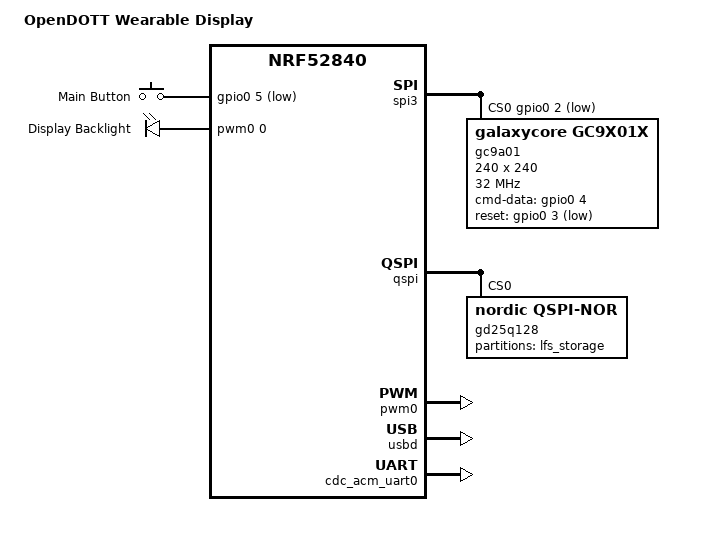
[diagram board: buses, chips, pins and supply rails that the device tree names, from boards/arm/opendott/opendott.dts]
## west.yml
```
# West manifest for OpenDOTT
manifest:
  version: "1.0"

  remotes:
    - name: zephyrproject-rtos
      url-base: https://github.com/zephyrproject-rtos

  projects:
    - name: zephyr
      remote: zephyrproject-rtos
      revision: v3.7.0
      import:
        name-allowlist:
          - cmsis
          - hal_nordic
          - littlefs
          - mbedtls
          - mcuboot
          - segger
          - tinycrypt

  self:
    path: opendott
```

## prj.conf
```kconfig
# OpenDOTT Configuration
# SPDX-License-Identifier: MIT

# Kernel
CONFIG_MAIN_STACK_SIZE=4096
CONFIG_SYSTEM_WORKQUEUE_STACK_SIZE=2048
CONFIG_HEAP_MEM_POOL_SIZE=32768

# Logging
CONFIG_LOG=y
CONFIG_LOG_DEFAULT_LEVEL=3
CONFIG_LOG_BACKEND_UART=y
CONFIG_USE_SEGGER_RTT=n

# Bluetooth
CONFIG_BT=y
CONFIG_BT_PERIPHERAL=y
CONFIG_BT_DEVICE_NAME="Dott"
CONFIG_BT_DEVICE_APPEARANCE=833

# BT Settings
CONFIG_BT_SETTINGS=y
CONFIG_FLASH=y
CONFIG_FLASH_PAGE_LAYOUT=y
CONFIG_FLASH_MAP=y
CONFIG_NVS=y
CONFIG_SETTINGS=y
CONFIG_SETTINGS_NVS=y

# BT GATT
CONFIG_BT_GATT_DYNAMIC_DB=n
CONFIG_BT_ATT_PREPARE_COUNT=2

# BT connection parameters
CONFIG_BT_MAX_CONN=1
CONFIG_BT_MAX_PAIRED=1

# Higher MTU for faster transfers
CONFIG_BT_L2CAP_TX_MTU=498
CONFIG_BT_BUF_ACL_TX_SIZE=502
CONFIG_BT_BUF_ACL_RX_SIZE=502

# Display
CONFIG_DISPLAY=y
CONFIG_DISPLAY_LOG_LEVEL_ERR=y

# SPI for display
CONFIG_SPI=y

# QSPI for external flash
CONFIG_NORDIC_QSPI_NOR=y
CONFIG_NORDIC_QSPI_NOR_FLASH_LAYOUT_PAGE_SIZE=4096

# File system for GIF storage
CONFIG_FILE_SYSTEM=y
CONFIG_FILE_SYSTEM_LITTLEFS=y

# GPIO for buttons
CONFIG_GPIO=y

# PWM for backlight
CONFIG_PWM=y

# USB CDC for debug console
CONFIG_SERIAL=y
CONFIG_USB_DEVICE_STACK=y
CONFIG_USB_DEVICE_PRODUCT="OpenDOTT"
CONFIG_USB_DEVICE_VID=0x2FE3
CONFIG_USB_DEVICE_PID=0x0001
CONFIG_USB_CDC_ACM=y
CONFIG_UART_CONSOLE=y
CONFIG_CONSOLE=y
CONFIG_UART_LINE_CTRL=y

# MCUboot support (for OTA updates)
CONFIG_BOOTLOADER_MCUBOOT=y
CONFIG_STREAM_FLASH=y
CONFIG_IMG_MANAGER=y
CONFIG_MCUBOOT_IMG_MANAGER=y

# Thread analyzer (debug)
# CONFIG_THREAD_ANALYZER=y
# CONFIG_THREAD_ANALYZER_USE_PRINTK=y

# Optimize for size
CONFIG_SIZE_OPTIMIZATIONS=y
```

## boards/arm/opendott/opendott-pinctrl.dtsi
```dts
/*
 * Pin Control for OpenDOTT
 * 
 * PINS EXTRACTED FROM ORIGINAL FIRMWARE ANALYSIS:
 * - QSPI: Standard nRF52840 pins (CONFIRMED)
 * - SPI Display: P0.15 SCK, P0.16 MOSI (HIGH CONFIDENCE)
 * - PWM Backlight: P0.1 (MEDIUM CONFIDENCE)
 */

&pinctrl {
    /* SPI3 for GC9A01 display - uses SPIM3 (high speed) */
    spi3_default: spi3_default {
        group1 {
            psels = <NRF_PSEL(SPIM_SCK, 0, 15)>,
                    <NRF_PSEL(SPIM_MOSI, 0, 16)>;
            nordic,drive-mode = <NRF_DRIVE_H0H1>;
        };
    };

    spi3_sleep: spi3_sleep {
        group1 {
            psels = <NRF_PSEL(SPIM_SCK, 0, 15)>,
                    <NRF_PSEL(SPIM_MOSI, 0, 16)>;
            low-power-enable;
        };
    };

    /* QSPI for GD25Q128 external flash - CONFIRMED from firmware */
    qspi_default: qspi_default {
        group1 {
            psels = <NRF_PSEL(QSPI_SCK, 0, 19)>,
                    <NRF_PSEL(QSPI_IO0, 0, 20)>,
                    <NRF_PSEL(QSPI_IO1, 0, 21)>,
                    <NRF_PSEL(QSPI_IO2, 0, 22)>,
                    <NRF_PSEL(QSPI_IO3, 0, 23)>,
                    <NRF_PSEL(QSPI_CSN, 0, 17)>;
            nordic,drive-mode = <NRF_DRIVE_H0H1>;
        };
    };

    qspi_sleep: qspi_sleep {
        group1 {
            psels = <NRF_PSEL(QSPI_SCK, 0, 19)>,
                    <NRF_PSEL(QSPI_IO0, 0, 20)>,
                    <NRF_PSEL(QSPI_IO1, 0, 21)>,
                    <NRF_PSEL(QSPI_IO2, 0, 22)>,
                    <NRF_PSEL(QSPI_IO3, 0, 23)>,
                    <NRF_PSEL(QSPI_CSN, 0, 17)>;
            low-power-enable;
        };
    };

    /* PWM for backlight - P0.1 from firmware analysis */
    pwm0_default: pwm0_default {
        group1 {
            psels = <NRF_PSEL(PWM_OUT0, 0, 1)>;
        };
    };

    pwm0_sleep: pwm0_sleep {
        group1 {
            psels = <NRF_PSEL(PWM_OUT0, 0, 1)>;
            low-power-enable;
        };
    };
};
```

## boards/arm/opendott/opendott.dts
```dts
/*
 * OpenDOTT Device Tree
 * SPDX-License-Identifier: MIT
 * 
 * nRF52840 + GC9A01 display + GD25Q128 flash
 * 
 * PIN ASSIGNMENTS (from firmware reverse engineering):
 * - P0.1  = Backlight PWM
 * - P0.2  = Display CS (guess)
 * - P0.3  = Display RESET (guess)  
 * - P0.4  = Display DC (from firmware GPIO spec)
 * - P0.5  = Button (guess)
 * - P0.15 = Display SPI SCK (confirmed)
 * - P0.16 = Display SPI MOSI (confirmed)
 * - P0.17 = QSPI CS (confirmed)
 * - P0.19-23 = QSPI data (confirmed)
 */

/dts-v1/;
#include <nordic/nrf52840_qiaa.dtsi>
#include "opendott-pinctrl.dtsi"

/ {
    model = "OpenDOTT Wearable Display";
    compatible = "opendott,opendott";

    chosen {
        zephyr,console = &cdc_acm_uart0;
        zephyr,shell-uart = &cdc_acm_uart0;
        zephyr,sram = &sram0;
        zephyr,flash = &flash0;
        zephyr,code-partition = &slot0_partition;
        zephyr,display = &gc9a01;
    };

    aliases {
        sw0 = &button0;
        spi-flash0 = &gd25q128;
        display0 = &gc9a01;
    };

    buttons {
        compatible = "gpio-keys";
        button0: button_0 {
            /* Button - best guess P0.5 */
            gpios = <&gpio0 5 (GPIO_PULL_UP | GPIO_ACTIVE_LOW)>;
            label = "Main Button";
            zephyr,code = <INPUT_KEY_0>;
        };
    };

    /* Display backlight via PWM */
    pwmleds {
        compatible = "pwm-leds";
        backlight: backlight {
            pwms = <&pwm0 0 PWM_MSEC(20) PWM_POLARITY_NORMAL>;
            label = "Display Backlight";
        };
    };
};

&flash0 {
    partitions {
        compatible = "fixed-partitions";
        #address-cells = <1>;
        #size-cells = <1>;

        /* MCUboot bootloader */
        boot_partition: partition@0 {
            label = "mcuboot";
            reg = <0x0 0xc000>;
        };

        /* Application slot 0 */
        slot0_partition: partition@c000 {
            label = "image-0";
            reg = <0xc000 0x72000>;
        };

        /* Application slot 1 (OTA) */
        slot1_partition: partition@7e000 {
            label = "image-1";
            reg = <0x7e000 0x72000>;
        };

        /* Scratch partition for OTA */
        scratch_partition: partition@f0000 {
            label = "image-scratch";
            reg = <0xf0000 0xa000>;
        };

        /* NVS storage for settings */
        storage_partition: partition@fa000 {
            label = "storage";
            reg = <0xfa000 0x6000>;
        };
    };
};

&gpio0 {
    status = "okay";
};

&gpio1 {
    status = "okay";
};

/* SPI3 for display - uses high-speed SPIM3 @ 32MHz */
&spi3 {
    compatible = "nordic,nrf-spim";
    status = "okay";
    pinctrl-0 = <&spi3_default>;
    pinctrl-1 = <&spi3_sleep>;
    pinctrl-names = "default", "sleep";
    cs-gpios = <&gpio0 2 GPIO_ACTIVE_LOW>;  /* CS on P0.2 (guess) */

    gc9a01: gc9a01@0 {
        compatible = "galaxycore,gc9x01x";
        reg = <0>;
        spi-max-frequency = <32000000>;
        cmd-data-gpios = <&gpio0 4 GPIO_ACTIVE_HIGH>;  /* DC on P0.4 (from firmware) */
        reset-gpios = <&gpio0 3 GPIO_ACTIVE_LOW>;      /* RESET on P0.3 (guess) */
        pixel-format = <0>;  /* RGB565 */
        width = <240>;
        height = <240>;
        display-inversion;
    };
};

/* QSPI for external flash - CONFIRMED pins from firmware */
&qspi {
    status = "okay";
    pinctrl-0 = <&qspi_default>;
    pinctrl-1 = <&qspi_sleep>;
    pinctrl-names = "default", "sleep";

    gd25q128: gd25q128@0 {
        compatible = "nordic,qspi-nor";
        reg = <0>;
        sck-frequency = <32000000>;
        jedec-id = [c8 40 18];  /* GD25Q128 JEDEC ID */
        size = <134217728>;      /* 128 Mbit = 16 MB */
        has-dpd;
        t-enter-dpd = <3000>;
        t-exit-dpd = <30000>;
        quad-enable-requirements = "S2B1v1";

        partitions {
            compatible = "fixed-partitions";
            #address-cells = <1>;
            #size-cells = <1>;

            /* LittleFS partition for GIF images */
            lfs_partition: partition@0 {
                label = "lfs_storage";
                reg = <0x0 0x1000000>;  /* Full 16MB */
            };
        };
    };
};

/* PWM for backlight on P0.1 */
&pwm0 {
    status = "okay";
    pinctrl-0 = <&pwm0_default>;
    pinctrl-1 = <&pwm0_sleep>;
    pinctrl-names = "default", "sleep";
};

/* USB CDC for console/debug */
&usbd {
    status = "okay";
};

&zephyr_udc0 {
    cdc_acm_uart0: cdc_acm_uart0 {
        compatible = "zephyr,cdc-acm-uart";
    };
};
```

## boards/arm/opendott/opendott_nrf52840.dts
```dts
/*
 * OpenDOTT Device Tree
 * SPDX-License-Identifier: MIT
 * 
 * nRF52840 + GC9A01 display + GD25Q128 flash
 * 
 * PIN ASSIGNMENTS (from firmware reverse engineering):
 * - P0.1  = Backlight PWM
 * - P0.2  = Display CS (guess)
 * - P0.3  = Display RESET (guess)  
 * - P0.4  = Display DC (from firmware GPIO spec)
 * - P0.5  = Button (guess)
 * - P0.15 = Display SPI SCK (confirmed)
 * - P0.16 = Display SPI MOSI (confirmed)
 * - P0.17 = QSPI CS (confirmed)
 * - P0.19-23 = QSPI data (confirmed)
 */

/dts-v1/;
#include <nordic/nrf52840_qiaa.dtsi>
#include "opendott_nrf52840-pinctrl.dtsi"

/ {
    model = "OpenDOTT Wearable Display";
    compatible = "opendott,opendott";

    chosen {
        zephyr,console = &cdc_acm_uart0;
        zephyr,shell-uart = &cdc_acm_uart0;
        zephyr,sram = &sram0;
        zephyr,flash = &flash0;
        zephyr,code-partition = &slot0_partition;
        /* zephyr,display = &gc9a01; -- disabled, using direct SPI */
    };

    aliases {
        sw0 = &button0;
        spi-flash0 = &gd25q128;
        display0 = &gc9a01;
        pwm-led0 = &backlight;
    };

    buttons {
        compatible = "gpio-keys";
        button0: button_0 {
            /* Button - best guess P0.5 */
            gpios = <&gpio0 5 (GPIO_PULL_UP | GPIO_ACTIVE_LOW)>;
            label = "Main Button";
            zephyr,code = <INPUT_KEY_0>;
        };
    };

    /* Display backlight via PWM */
    pwmleds {
        compatible = "pwm-leds";
        backlight: backlight {
            pwms = <&pwm0 0 PWM_MSEC(20) PWM_POLARITY_NORMAL>;
            label = "Display Backlight";
        };
    };
};

&flash0 {
    partitions {
        compatible = "fixed-partitions";
        #address-cells = <1>;
        #size-cells = <1>;

        /* MCUboot bootloader */
        boot_partition: partition@0 {
            label = "mcuboot";
            reg = <0x0 0xc000>;
        };

        /* Application slot 0 */
        slot0_partition: partition@c000 {
            label = "image-0";
            reg = <0xc000 0x72000>;
        };

        /* Application slot 1 (OTA) */
        slot1_partition: partition@7e000 {
            label = "image-1";
            reg = <0x7e000 0x72000>;
        };

        /* Scratch partition for OTA */
        scratch_partition: partition@f0000 {
            label = "image-scratch";
            reg = <0xf0000 0xa000>;
        };

        /* NVS storage for settings */
        storage_partition: partition@fa000 {
            label = "storage";
            reg = <0xfa000 0x6000>;
        };
    };
};

&gpio0 {
    status = "okay";
};

&gpio1 {
    status = "okay";
};

/* SPI3 for display - uses high-speed SPIM3 @ 32MHz */
&spi3 {
    compatible = "nordic,nrf-spim";
    status = "okay";
    pinctrl-0 = <&spi3_default>;
    pinctrl-1 = <&spi3_sleep>;
    pinctrl-names = "default", "sleep";
    cs-gpios = <&gpio0 2 GPIO_ACTIVE_LOW>;  /* CS on P0.2 (guess) */

    gc9a01: gc9a01@0 {
        /* Using custom driver instead of Zephyr's due to boolean property bug */
        compatible = "opendott,gc9a01";
        reg = <0>;
        spi-max-frequency = <32000000>;
        cmd-data-gpios = <&gpio0 4 GPIO_ACTIVE_HIGH>;  /* DC on P0.4 (from firmware) */
        reset-gpios = <&gpio0 3 GPIO_ACTIVE_LOW>;      /* RESET on P0.3 (guess) */
    };
};

/* QSPI for external flash - CONFIRMED pins from firmware */
&qspi {
    status = "okay";
    pinctrl-0 = <&qspi_default>;
    pinctrl-1 = <&qspi_sleep>;
    pinctrl-names = "default", "sleep";

    gd25q128: gd25q128@0 {
        compatible = "nordic,qspi-nor";
        reg = <0>;
        sck-frequency = <32000000>;
        jedec-id = [c8 40 18];  /* GD25Q128 JEDEC ID */
        size = <134217728>;      /* 128 Mbit = 16 MB */
        has-dpd;
        t-enter-dpd = <3000>;
        t-exit-dpd = <30000>;
        quad-enable-requirements = "S2B1v1";

        partitions {
            compatible = "fixed-partitions";
            #address-cells = <1>;
            #size-cells = <1>;

            /* LittleFS partition for GIF images */
            lfs_partition: partition@0 {
                label = "lfs_storage";
                reg = <0x0 0x1000000>;  /* Full 16MB */
            };
        };
    };
};

/* PWM for backlight on P0.1 */
&pwm0 {
    status = "okay";
    pinctrl-0 = <&pwm0_default>;
    pinctrl-1 = <&pwm0_sleep>;
    pinctrl-names = "default", "sleep";
};

/* USB CDC for console/debug */
&usbd {
    status = "okay";
    cdc_acm_uart0: cdc_acm_uart0 {
        compatible = "zephyr,cdc-acm-uart";
    };
};

/* Enable GPIOTE for GPIO interrupts */
&gpiote {
    status = "okay";
};

/* Enable GPIO ports */
&gpio0 {
    status = "okay";
};

&gpio1 {
    status = "okay";
};
```

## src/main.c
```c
/*
 * OpenDOTT - Main Application
 * SPDX-License-Identifier: MIT
 * 
 * Open-source firmware for the DOTT wearable display
 */

#include <zephyr/kernel.h>
#include <zephyr/logging/log.h>

#include "opendott.h"

LOG_MODULE_REGISTER(main, CONFIG_LOG_DEFAULT_LEVEL);

/* GIF receive buffer - reduced to fit in RAM with other allocations */
#define GIF_BUFFER_SIZE (64 * 1024)  /* 64KB max GIF size */
static uint8_t gif_buffer[GIF_BUFFER_SIZE];

/* Transfer timeout work */
static struct k_work_delayable transfer_timeout_work;
#define TRANSFER_TIMEOUT_MS 3000  /* 3 second timeout after last data */

/* Forward declarations */
static void transfer_timeout_handler(struct k_work *work);
static void button_callback(button_event_t event);

/* Button event handler */
static void button_callback(button_event_t event)
{
    switch (event) {
    case BUTTON_EVENT_SHORT_PRESS:
        LOG_INF("Short press - next image");
        /* TODO: Cycle through stored images */
        break;
    case BUTTON_EVENT_MEDIUM_PRESS:
        LOG_INF("Medium press - toggle mode");
        /* TODO: Toggle display mode */
        break;
    case BUTTON_EVENT_LONG_PRESS:
        LOG_INF("Long press - entering settings");
        /* TODO: Enter settings mode */
        break;
    }
}

/* Transfer timeout - called when no data received for a while */
static void transfer_timeout_handler(struct k_work *work)
{
    transfer_state_t state = ble_get_transfer_state();
    
    if (state == TRANSFER_RECEIVING) {
        size_t received = ble_get_received_size();
        LOG_INF("Transfer timeout, received %zu bytes", received);
        
        /* Validate and display the received image */
        if (received > 0) {
            if (image_validate(gif_buffer, received)) {
                LOG_INF("Image validated successfully");
                ble_transfer_complete(true);
                
                /* Display the image */
                int ret = image_decode_and_display(gif_buffer, received);
                if (ret < 0) {
                    LOG_ERR("Failed to display image: %d", ret);
                }
            } else {
                LOG_ERR("Image validation failed - rejecting upload");
                ble_transfer_complete(false);
            }
        } else {
            LOG_WRN("No data received");
            ble_transfer_complete(false);
        }
    }
}

/* Main entry point */
int main(void)
{
    int err;
    
    LOG_INF("OpenDOTT starting...");
    LOG_INF("Build: " __DATE__ " " __TIME__);
    
    /* Initialize transfer timeout work */
    k_work_init_delayable(&transfer_timeout_work, transfer_timeout_handler);
    
    /* Initialize storage */
    err = storage_init();
    if (err) {
        LOG_ERR("Storage init failed: %d", err);
        /* Continue - we can still receive and display images */
    }
    
    /* Initialize display */
    err = display_init();
    if (err) {
        LOG_ERR("Display init failed: %d", err);
        /* Continue anyway - BLE should still work */
    } else {
        /* Clear display to black */
        display_clear(0x0000);
    }
    
    /* Initialize button */
    err = button_init(button_callback);
    if (err) {
        LOG_WRN("Button init failed: %d", err);
    }
    
    /* Initialize BLE service */
    err = ble_service_init(gif_buffer, sizeof(gif_buffer));
    if (err) {
        LOG_ERR("BLE init failed: %d", err);
        return err;
    }
    
    LOG_INF("OpenDOTT ready!");
    LOG_INF("Waiting for BLE connection...");
    
    /* Main loop */
    while (1) {
        transfer_state_t state = ble_get_transfer_state();
        
        if (state == TRANSFER_RECEIVING) {
            /* Reset timeout on each check if still receiving */
            k_work_reschedule(&transfer_timeout_work, K_MSEC(TRANSFER_TIMEOUT_MS));
        }
        
        k_sleep(K_MSEC(100));
    }
    
    return 0;
}
```

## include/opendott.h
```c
/*
 * OpenDOTT - Header File
 * SPDX-License-Identifier: MIT
 */

#ifndef OPENDOTT_H
#define OPENDOTT_H

#include <stdint.h>
#include <stddef.h>
#include <stdbool.h>

/* Display constants */
#define DISPLAY_WIDTH  240
#define DISPLAY_HEIGHT 240
#define DISPLAY_BPP    2  /* RGB565 = 2 bytes per pixel */

/* Maximum image size (16MB external flash) */
#define MAX_IMAGE_SIZE (16 * 1024 * 1024)

/* Error codes */
enum opendott_error {
    OPENDOTT_OK = 0,
    OPENDOTT_ERR_INVALID_FORMAT = -1,
    OPENDOTT_ERR_FILE_TOO_LARGE = -2,
    OPENDOTT_ERR_FLASH_WRITE = -3,
    OPENDOTT_ERR_FLASH_READ = -4,
    OPENDOTT_ERR_NO_MEMORY = -5,
    OPENDOTT_ERR_DECODE_FAILED = -6,
};

/* Image format detection */
typedef enum {
    IMAGE_FORMAT_UNKNOWN = 0,
    IMAGE_FORMAT_GIF,
    IMAGE_FORMAT_PNG,
    IMAGE_FORMAT_JPEG,
    IMAGE_FORMAT_BMP,
} image_format_t;

/* Transfer states */
typedef enum {
    TRANSFER_IDLE,
    TRANSFER_TRIGGERED,
    TRANSFER_RECEIVING,
    TRANSFER_COMPLETE,
    TRANSFER_FAILED
} transfer_state_t;

/* Button events */
typedef enum {
    BUTTON_EVENT_SHORT_PRESS,
    BUTTON_EVENT_MEDIUM_PRESS,
    BUTTON_EVENT_LONG_PRESS,
} button_event_t;

/* Button callback function type */
typedef void (*button_callback_t)(button_event_t event);

/* BLE Service API */
int ble_service_init(uint8_t *rx_buffer, size_t rx_buffer_size);
transfer_state_t ble_get_transfer_state(void);
size_t ble_get_received_size(void);
void ble_transfer_complete(bool success);

/* Display API */
int display_init(void);
void display_clear(uint16_t color);
int opendott_set_brightness(uint8_t brightness);
int display_draw_buffer(uint16_t x, uint16_t y, uint16_t width, uint16_t height, const uint8_t *buf);
int display_show_image(const char *path);
void display_gif(const uint8_t *data, size_t size);

/* Storage API */
int storage_init(void);
int storage_save_gif(const uint8_t *data, size_t size, uint8_t slot);
int storage_load_gif(uint8_t *data, size_t max_size, uint8_t slot);
int storage_save_image(const uint8_t *data, size_t size, const char *name);
int storage_load_image(const char *name, uint8_t **data, size_t *size);
int storage_delete_image(const char *name);
int storage_get_free_space(size_t *free_bytes);
int storage_format(void);

/* Image Handler API */
image_format_t image_detect_format(const uint8_t *data, size_t size);
const char *image_format_to_string(image_format_t format);
bool image_validate(const uint8_t *data, size_t size);
int image_decode_and_display(const uint8_t *data, size_t size);

/* Button API */
int button_init(button_callback_t callback);

#endif /* OPENDOTT_H */
```

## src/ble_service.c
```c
/*
 * OpenDOTT - BLE Service
 * SPDX-License-Identifier: MIT
 * 
 * DOTT-compatible BLE GATT service for image transfer
 * Protocol reverse-engineered from official app
 */

#include <zephyr/kernel.h>
#include <zephyr/bluetooth/bluetooth.h>
#include <zephyr/bluetooth/conn.h>
#include <zephyr/bluetooth/gatt.h>
#include <zephyr/bluetooth/uuid.h>
#include <zephyr/logging/log.h>

#include "opendott.h"

LOG_MODULE_REGISTER(ble_service, CONFIG_LOG_DEFAULT_LEVEL);

/*
 * DOTT BLE Protocol (Reverse Engineered)
 * ======================================
 * 
 * Service UUID: 0483dadd-6c9d-6ca9-5d41-03ad4fff4bcc
 * 
 * Characteristics:
 *   0x1525 - Data      (read, write-without-response) - GIF data
 *   0x1526 - Command   (read, write)
 *   0x1527 - Status    (read, write)  
 *   0x1528 - Trigger   (read, write, indicate) - Transfer trigger
 *   0x1529 - Notify    (write, notify) - Transfer notifications
 *   0x1530 - Response  (read, notify) - Completion status
 * 
 * Upload Sequence:
 *   1. Client writes 0x00401000 to 0x1528 (trigger command)
 *   2. Device responds with indication 0xFFFFFFFF (ready)
 *   3. Client streams raw GIF bytes to 0x1525
 *   4. Device sends "Transfer Complete" notification on 0x1529
 */

/* Service UUID: 0483dadd-6c9d-6ca9-5d41-03ad4fff4bcc */
#define BT_UUID_DOTT_SERVICE_VAL \
    BT_UUID_128_ENCODE(0x0483dadd, 0x6c9d, 0x6ca9, 0x5d41, 0x03ad4fff4bcc)

/* Characteristic UUIDs (16-bit style) */
#define BT_UUID_DOTT_DATA_VAL      BT_UUID_16_ENCODE(0x1525)
#define BT_UUID_DOTT_COMMAND_VAL   BT_UUID_16_ENCODE(0x1526)
#define BT_UUID_DOTT_STATUS_VAL    BT_UUID_16_ENCODE(0x1527)
#define BT_UUID_DOTT_TRIGGER_VAL   BT_UUID_16_ENCODE(0x1528)
#define BT_UUID_DOTT_NOTIFY_VAL    BT_UUID_16_ENCODE(0x1529)
#define BT_UUID_DOTT_RESPONSE_VAL  BT_UUID_16_ENCODE(0x1530)

/* Protocol constants */
#define TRIGGER_CMD_VALUE    0x00104000  /* 0x00401000 little-endian */
#define READY_INDICATION     0xFFFFFFFF

/* GIF magic bytes */
#define GIF_MAGIC_89A        0x613938464947  /* "GIF89a" */
#define GIF_MAGIC_87A        0x613738464947  /* "GIF87a" */

static struct bt_uuid_128 service_uuid = BT_UUID_INIT_128(BT_UUID_DOTT_SERVICE_VAL);
static struct bt_uuid_16 data_uuid = BT_UUID_INIT_16(0x1525);
static struct bt_uuid_16 command_uuid = BT_UUID_INIT_16(0x1526);
static struct bt_uuid_16 status_uuid = BT_UUID_INIT_16(0x1527);
static struct bt_uuid_16 trigger_uuid = BT_UUID_INIT_16(0x1528);
static struct bt_uuid_16 notify_uuid = BT_UUID_INIT_16(0x1529);
static struct bt_uuid_16 response_uuid = BT_UUID_INIT_16(0x1530);

/* Connection state */
static struct bt_conn *current_conn = NULL;

/* CCC descriptors for notifications/indications */
static bool trigger_indicate_enabled = false;
static bool notify_enabled = false;
static bool response_notify_enabled = false;

/* Transfer state machine */
typedef enum {
    TRANSFER_IDLE,
    TRANSFER_TRIGGERED,
    TRANSFER_RECEIVING,
    TRANSFER_COMPLETE,
    TRANSFER_FAILED
} transfer_state_t;

static struct {
    transfer_state_t state;
    uint8_t *buffer;
    size_t buffer_size;
    size_t received_size;
    bool gif_valid;
} transfer = {
    .state = TRANSFER_IDLE,
    .buffer = NULL,
    .buffer_size = 0,
    .received_size = 0,
    .gif_valid = false
};

/* Advertising data */
static const struct bt_data ad[] = {
    BT_DATA_BYTES(BT_DATA_FLAGS, (BT_LE_AD_GENERAL | BT_LE_AD_NO_BREDR)),
    BT_DATA(BT_DATA_NAME_COMPLETE, "Dott", 4),
};

static const struct bt_data sd[] = {
    BT_DATA_BYTES(BT_DATA_UUID128_ALL, BT_UUID_DOTT_SERVICE_VAL),
};

/* Forward declarations */
static ssize_t read_data(struct bt_conn *conn, const struct bt_gatt_attr *attr,
                         void *buf, uint16_t len, uint16_t offset);
static ssize_t write_data(struct bt_conn *conn, const struct bt_gatt_attr *attr,
                          const void *buf, uint16_t len, uint16_t offset, uint8_t flags);
static ssize_t write_trigger(struct bt_conn *conn, const struct bt_gatt_attr *attr,
                             const void *buf, uint16_t len, uint16_t offset, uint8_t flags);
static ssize_t read_status(struct bt_conn *conn, const struct bt_gatt_attr *attr,
                           void *buf, uint16_t len, uint16_t offset);

static void trigger_ccc_changed(const struct bt_gatt_attr *attr, uint16_t value);
static void notify_ccc_changed(const struct bt_gatt_attr *attr, uint16_t value);
static void response_ccc_changed(const struct bt_gatt_attr *attr, uint16_t value);

/* GATT Service Definition */
BT_GATT_SERVICE_DEFINE(dott_svc,
    /* Primary Service */
    BT_GATT_PRIMARY_SERVICE(&service_uuid),
    
    /* 0x1525 - Data Characteristic (GIF data) */
    BT_GATT_CHARACTERISTIC(&data_uuid.uuid,
                          BT_GATT_CHRC_READ | BT_GATT_CHRC_WRITE_WITHOUT_RESP,
                          BT_GATT_PERM_READ | BT_GATT_PERM_WRITE,
                          read_data, write_data, NULL),
    
    /* 0x1526 - Command Characteristic */
    BT_GATT_CHARACTERISTIC(&command_uuid.uuid,
                          BT_GATT_CHRC_READ | BT_GATT_CHRC_WRITE,
                          BT_GATT_PERM_READ | BT_GATT_PERM_WRITE,
                          NULL, NULL, NULL),
    
    /* 0x1527 - Status Characteristic */
    BT_GATT_CHARACTERISTIC(&status_uuid.uuid,
                          BT_GATT_CHRC_READ | BT_GATT_CHRC_WRITE,
                          BT_GATT_PERM_READ | BT_GATT_PERM_WRITE,
                          read_status, NULL, NULL),
    
    /* 0x1528 - Trigger Characteristic (with indication) */
    BT_GATT_CHARACTERISTIC(&trigger_uuid.uuid,
                          BT_GATT_CHRC_READ | BT_GATT_CHRC_WRITE | BT_GATT_CHRC_INDICATE,
                          BT_GATT_PERM_READ | BT_GATT_PERM_WRITE,
                          NULL, write_trigger, NULL),
    BT_GATT_CCC(trigger_ccc_changed, BT_GATT_PERM_READ | BT_GATT_PERM_WRITE),
    
    /* 0x1529 - Notify Characteristic */
    BT_GATT_CHARACTERISTIC(&notify_uuid.uuid,
                          BT_GATT_CHRC_WRITE | BT_GATT_CHRC_NOTIFY,
                          BT_GATT_PERM_WRITE,
                          NULL, NULL, NULL),
    BT_GATT_CCC(notify_ccc_changed, BT_GATT_PERM_READ | BT_GATT_PERM_WRITE),
    
    /* 0x1530 - Response Characteristic */
    BT_GATT_CHARACTERISTIC(&response_uuid.uuid,
                          BT_GATT_CHRC_READ | BT_GATT_CHRC_NOTIFY,
                          BT_GATT_PERM_READ,
                          NULL, NULL, NULL),
    BT_GATT_CCC(response_ccc_changed, BT_GATT_PERM_READ | BT_GATT_PERM_WRITE),
);

/* Connection callbacks */
static void connected(struct bt_conn *conn, uint8_t err)
{
    if (err) {
        LOG_ERR("Connection failed (err %u)", err);
        return;
    }

    current_conn = bt_conn_ref(conn);
    LOG_INF("Connected");
    
    /* Reset transfer state */
    transfer.state = TRANSFER_IDLE;
    transfer.received_size = 0;
}

static void disconnected(struct bt_conn *conn, uint8_t reason)
{
    LOG_INF("Disconnected (reason %u)", reason);
    
    if (current_conn) {
        bt_conn_unref(current_conn);
        current_conn = NULL;
    }
    
    /* Reset transfer state */
    transfer.state = TRANSFER_IDLE;
    transfer.received_size = 0;
}

BT_CONN_CB_DEFINE(conn_callbacks) = {
    .connected = connected,
    .disconnected = disconnected,
};

/* CCC callbacks */
static void trigger_ccc_changed(const struct bt_gatt_attr *attr, uint16_t value)
{
    trigger_indicate_enabled = (value == BT_GATT_CCC_INDICATE);
    LOG_INF("Trigger indications %s", trigger_indicate_enabled ? "enabled" : "disabled");
}

static void notify_ccc_changed(const struct bt_gatt_attr *attr, uint16_t value)
{
    notify_enabled = (value == BT_GATT_CCC_NOTIFY);
    LOG_INF("Notify notifications %s", notify_enabled ? "enabled" : "disabled");
}

static void response_ccc_changed(const struct bt_gatt_attr *attr, uint16_t value)
{
    response_notify_enabled = (value == BT_GATT_CCC_NOTIFY);
    LOG_INF("Response notifications %s", response_notify_enabled ? "enabled" : "disabled");
}

/* Send indication on trigger characteristic (0x1528) */
static int send_trigger_indication(uint32_t value)
{
    if (!current_conn || !trigger_indicate_enabled) {
        return -ENOTCONN;
    }
    
    /* Find the trigger characteristic attribute */
    const struct bt_gatt_attr *attr = bt_gatt_find_by_uuid(
        dott_svc.attrs, dott_svc.attr_count, &trigger_uuid.uuid);
    
    if (!attr) {
        return -ENOENT;
    }
    
    return bt_gatt_indicate(current_conn, &(struct bt_gatt_indicate_params){
        .attr = attr,
        .data = &value,
        .len = sizeof(value),
    });
}

/* Send notification on notify characteristic (0x1529) */
static int send_notify(const char *message)
{
    if (!current_conn || !notify_enabled) {
        return -ENOTCONN;
    }
    
    const struct bt_gatt_attr *attr = bt_gatt_find_by_uuid(
        dott_svc.attrs, dott_svc.attr_count, &notify_uuid.uuid);
    
    if (!attr) {
        return -ENOENT;
    }
    
    return bt_gatt_notify(current_conn, attr, message, strlen(message));
}

/* Validate GIF header */
static bool validate_gif_header(const uint8_t *data, size_t len)
{
    if (len < 6) {
        return false;
    }
    
    /* Check for GIF89a or GIF87a */
    if (memcmp(data, "GIF89a", 6) == 0 || memcmp(data, "GIF87a", 6) == 0) {
        return true;
    }
    
    return false;
}

/* Read data characteristic - returns MCUboot-style status (for compatibility) */
static ssize_t read_data(struct bt_conn *conn, const struct bt_gatt_attr *attr,
                         void *buf, uint16_t len, uint16_t offset)
{
    /* Return some status data for compatibility with original protocol */
    static uint8_t status_data[] = {0x01, 0x31, 0x00, 0x02, 0x29, 0x00};
    
    return bt_gatt_attr_read(conn, attr, buf, len, offset,
                            status_data, sizeof(status_data));
}

/* Write data characteristic - receives GIF data */
static ssize_t write_data(struct bt_conn *conn, const struct bt_gatt_attr *attr,
                          const void *buf, uint16_t len, uint16_t offset, uint8_t flags)
{
    const uint8_t *data = buf;
    
    if (transfer.state != TRANSFER_TRIGGERED && transfer.state != TRANSFER_RECEIVING) {
        LOG_WRN("Data received but not in receive mode (state=%d)", transfer.state);
        return len;  /* Accept but ignore */
    }
    
    /* First chunk - validate GIF header */
    if (transfer.received_size == 0) {
        if (!validate_gif_header(data, len)) {
            LOG_ERR("Invalid GIF header");
            transfer.state = TRANSFER_FAILED;
            send_notify("Transfer Fail");
            return len;
        }
        transfer.gif_valid = true;
        transfer.state = TRANSFER_RECEIVING;
        LOG_INF("GIF header valid, receiving data...");
    }
    
    /* Store data (in real implementation, write to flash) */
    if (transfer.buffer && transfer.received_size + len <= transfer.buffer_size) {
        memcpy(transfer.buffer + transfer.received_size, data, len);
    }
    
    transfer.received_size += len;
    
    LOG_DBG("Received %u bytes (total: %u)", len, transfer.received_size);
    
    return len;
}

/* Write trigger characteristic - starts transfer */
static ssize_t write_trigger(struct bt_conn *conn, const struct bt_gatt_attr *attr,
                             const void *buf, uint16_t len, uint16_t offset, uint8_t flags)
{
    if (len != 4) {
        LOG_WRN("Invalid trigger length: %u (expected 4)", len);
        return BT_GATT_ERR(BT_ATT_ERR_INVALID_ATTRIBUTE_LEN);
    }
    
    uint32_t cmd = *(uint32_t *)buf;
    LOG_INF("Trigger received: 0x%08x", cmd);
    
    /* Check for the magic trigger command */
    if (cmd == TRIGGER_CMD_VALUE) {
        LOG_INF("Starting GIF receive mode");
        
        /* Reset transfer state */
        transfer.state = TRANSFER_TRIGGERED;
        transfer.received_size = 0;
        transfer.gif_valid = false;
        
        /* Send ready indication (0xFFFFFFFF) */
        int err = send_trigger_indication(READY_INDICATION);
        if (err) {
            LOG_WRN("Failed to send indication: %d", err);
        }
    } else {
        LOG_WRN("Unknown trigger command: 0x%08x", cmd);
    }
    
    return len;
}

/* Read status characteristic */
static ssize_t read_status(struct bt_conn *conn, const struct bt_gatt_attr *attr,
                           void *buf, uint16_t len, uint16_t offset)
{
    uint8_t status = (transfer.state == TRANSFER_IDLE) ? 0x01 : 0x00;
    
    return bt_gatt_attr_read(conn, attr, buf, len, offset, &status, sizeof(status));
}

/* Complete transfer (call after timeout or detecting end of GIF) */
void ble_transfer_complete(bool success)
{
    if (success && transfer.gif_valid) {
        LOG_INF("Transfer complete: %u bytes", transfer.received_size);
        transfer.state = TRANSFER_COMPLETE;
        send_notify("Transfer Complete");
        
        /* TODO: Trigger display update */
        
    } else {
        LOG_ERR("Transfer failed");
        transfer.state = TRANSFER_FAILED;
        send_notify("Transfer Fail");
    }
}

/* Initialize BLE */
int ble_service_init(uint8_t *rx_buffer, size_t rx_buffer_size)
{
    int err;
    
    /* Store buffer reference */
    transfer.buffer = rx_buffer;
    transfer.buffer_size = rx_buffer_size;
    
    /* Enable Bluetooth */
    err = bt_enable(NULL);
    if (err) {
        LOG_ERR("Bluetooth init failed (err %d)", err);
        return err;
    }
    
    LOG_INF("Bluetooth initialized");
    
    /* Start advertising */
    err = bt_le_adv_start(BT_LE_ADV_CONN, ad, ARRAY_SIZE(ad), sd, ARRAY_SIZE(sd));
    if (err) {
        LOG_ERR("Advertising failed to start (err %d)", err);
        return err;
    }
    
    LOG_INF("Advertising started");
    
    return 0;
}

/* Get transfer state */
transfer_state_t ble_get_transfer_state(void)
{
    return transfer.state;
}

/* Get received data size */
size_t ble_get_received_size(void)
{
    return transfer.received_size;
}
```

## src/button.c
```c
/*
 * OpenDOTT - Button Handler
 * SPDX-License-Identifier: MIT
 * 
 * Button input with short/medium/long press detection
 */

#include <zephyr/kernel.h>
#include <zephyr/device.h>
#include <zephyr/drivers/gpio.h>
#include <zephyr/logging/log.h>

#include "opendott.h"

LOG_MODULE_REGISTER(button, CONFIG_LOG_DEFAULT_LEVEL);

/* Button timing thresholds (ms) */
#define SHORT_PRESS_MAX_MS    500
#define MEDIUM_PRESS_MAX_MS   3000
/* Long press is anything longer than MEDIUM_PRESS_MAX_MS */

/* Button GPIO */
static const struct gpio_dt_spec button = GPIO_DT_SPEC_GET(DT_ALIAS(sw0), gpios);
static struct gpio_callback button_cb_data;

/* State tracking */
static button_callback_t user_callback = NULL;
static int64_t press_start_time = 0;
static struct k_work_delayable button_work;

/* Work handler for button release processing */
static void button_work_handler(struct k_work *work)
{
    int64_t press_duration = k_uptime_get() - press_start_time;

    button_event_t event;
    if (press_duration < SHORT_PRESS_MAX_MS) {
        event = BUTTON_EVENT_SHORT_PRESS;
        LOG_INF("Short press (%lld ms)", press_duration);
    } else if (press_duration < MEDIUM_PRESS_MAX_MS) {
        event = BUTTON_EVENT_MEDIUM_PRESS;
        LOG_INF("Medium press (%lld ms)", press_duration);
    } else {
        event = BUTTON_EVENT_LONG_PRESS;
        LOG_INF("Long press (%lld ms)", press_duration);
    }

    if (user_callback) {
        user_callback(event);
    }
}

/* GPIO interrupt callback */
static void button_pressed(const struct device *dev, struct gpio_callback *cb,
                           uint32_t pins)
{
    int state = gpio_pin_get_dt(&button);

    if (state) {
        /* Button pressed */
        press_start_time = k_uptime_get();
        LOG_DBG("Button pressed");
    } else {
        /* Button released - schedule work to process */
        k_work_schedule(&button_work, K_MSEC(10));  /* Small debounce */
        LOG_DBG("Button released");
    }
}

int button_init(button_callback_t callback)
{
    int ret;

    user_callback = callback;

    /* Check if button device is ready */
    if (!gpio_is_ready_dt(&button)) {
        LOG_ERR("Button GPIO not ready");
        return -ENODEV;
    }

    /* Configure as input with pull-up */
    ret = gpio_pin_configure_dt(&button, GPIO_INPUT);
    if (ret < 0) {
        LOG_ERR("Failed to configure button: %d", ret);
        return ret;
    }

    /* Configure interrupt on both edges */
    ret = gpio_pin_interrupt_configure_dt(&button, GPIO_INT_EDGE_BOTH);
    if (ret < 0) {
        LOG_ERR("Failed to configure button interrupt: %d", ret);
        return ret;
    }

    /* Set up callback */
    gpio_init_callback(&button_cb_data, button_pressed, BIT(button.pin));
    ret = gpio_add_callback(button.port, &button_cb_data);
    if (ret < 0) {
        LOG_ERR("Failed to add button callback: %d", ret);
        return ret;
    }

    /* Initialize work item */
    k_work_init_delayable(&button_work, button_work_handler);

    LOG_INF("Button initialized on pin %d", button.pin);
    return 0;
}
```

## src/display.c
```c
/*
 * OpenDOTT - Display Driver
 * SPDX-License-Identifier: MIT
 * 
 * GC9A01 240x240 round display driver
 * 
 * Note: Using minimal direct SPI implementation due to Zephyr driver bug
 * with display-inversion boolean property handling.
 */

#include <zephyr/kernel.h>
#include <zephyr/device.h>
#include <zephyr/drivers/spi.h>
#include <zephyr/drivers/gpio.h>
#include <zephyr/drivers/pwm.h>
#include <zephyr/logging/log.h>
#include <string.h>

#include "opendott.h"

LOG_MODULE_REGISTER(display, CONFIG_LOG_DEFAULT_LEVEL);

/* Backlight PWM */
static const struct pwm_dt_spec backlight = PWM_DT_SPEC_GET(DT_ALIAS(pwm_led0));

/* Display SPI and control GPIOs */
static const struct spi_dt_spec spi_dev = SPI_DT_SPEC_GET(DT_NODELABEL(gc9a01), 
    SPI_OP_MODE_MASTER | SPI_WORD_SET(8), 0);
static const struct gpio_dt_spec dc_gpio = GPIO_DT_SPEC_GET(DT_NODELABEL(gc9a01), cmd_data_gpios);
static const struct gpio_dt_spec reset_gpio = GPIO_DT_SPEC_GET(DT_NODELABEL(gc9a01), reset_gpios);

/* Current brightness (0-100) */
static uint8_t current_brightness = 100;
static bool display_initialized = false;

/* Send command to display */
static int display_send_cmd(uint8_t cmd)
{
    gpio_pin_set_dt(&dc_gpio, 0);  /* Command mode */
    
    struct spi_buf buf = { .buf = &cmd, .len = 1 };
    struct spi_buf_set bufs = { .buffers = &buf, .count = 1 };
    
    return spi_write_dt(&spi_dev, &bufs);
}

/* Send data to display */
static int display_send_data(const uint8_t *data, size_t len)
{
    gpio_pin_set_dt(&dc_gpio, 1);  /* Data mode */
    
    struct spi_buf buf = { .buf = (void *)data, .len = len };
    struct spi_buf_set bufs = { .buffers = &buf, .count = 1 };
    
    return spi_write_dt(&spi_dev, &bufs);
}

int display_init(void)
{
    int ret;

    /* Check SPI device */
    if (!spi_is_ready_dt(&spi_dev)) {
        LOG_ERR("SPI device not ready");
        return -ENODEV;
    }

    /* Configure DC GPIO */
    if (!gpio_is_ready_dt(&dc_gpio)) {
        LOG_ERR("DC GPIO not ready");
        return -ENODEV;
    }
    ret = gpio_pin_configure_dt(&dc_gpio, GPIO_OUTPUT_ACTIVE);
    if (ret < 0) {
        LOG_ERR("Failed to configure DC GPIO: %d", ret);
        return ret;
    }

    /* Configure and pulse reset GPIO */
    if (!gpio_is_ready_dt(&reset_gpio)) {
        LOG_ERR("Reset GPIO not ready");
        return -ENODEV;
    }
    ret = gpio_pin_configure_dt(&reset_gpio, GPIO_OUTPUT_ACTIVE);
    if (ret < 0) {
        LOG_ERR("Failed to configure reset GPIO: %d", ret);
        return ret;
    }

    /* Reset sequence */
    gpio_pin_set_dt(&reset_gpio, 0);
    k_msleep(10);
    gpio_pin_set_dt(&reset_gpio, 1);
    k_msleep(120);

    /* Basic GC9A01 initialization sequence */
    display_send_cmd(0xEF);  /* Inter register enable 2 */
    display_send_cmd(0xEB);
    uint8_t data_14[] = {0x14};
    display_send_data(data_14, 1);
    
    display_send_cmd(0xFE);  /* Inter register enable 1 */
    display_send_cmd(0xEF);  /* Inter register enable 2 */
    
    display_send_cmd(0x36);  /* Memory access control */
    uint8_t madctl = 0x48;   /* MX + BGR */
    display_send_data(&madctl, 1);
    
    display_send_cmd(0x3A);  /* Pixel format */
    uint8_t pixfmt = 0x55;   /* RGB565 */
    display_send_data(&pixfmt, 1);
    
    display_send_cmd(0x21);  /* Display inversion on */
    
    display_send_cmd(0x11);  /* Sleep out */
    k_msleep(120);
    
    display_send_cmd(0x29);  /* Display on */
    k_msleep(20);

    /* Initialize backlight */
    if (pwm_is_ready_dt(&backlight)) {
        opendott_set_brightness(100);
    } else {
        LOG_WRN("Backlight PWM not ready");
    }

    display_initialized = true;
    LOG_INF("Display initialized: %dx%d", DISPLAY_WIDTH, DISPLAY_HEIGHT);
    return 0;
}

void display_clear(uint16_t color)
{
    if (!display_initialized) {
        return;
    }

    /* Set column address (0-239) */
    display_send_cmd(0x2A);
    uint8_t col_data[] = {0x00, 0x00, 0x00, 0xEF};
    display_send_data(col_data, 4);

    /* Set row address (0-239) */
    display_send_cmd(0x2B);
    uint8_t row_data[] = {0x00, 0x00, 0x00, 0xEF};
    display_send_data(row_data, 4);

    /* Write to RAM */
    display_send_cmd(0x2C);

    /* Fill with color (RGB565, big-endian) */
    uint8_t color_be[2] = { (color >> 8) & 0xFF, color & 0xFF };
    
    gpio_pin_set_dt(&dc_gpio, 1);  /* Data mode */
    
    /* Write line by line to avoid large buffers */
    uint8_t line_buf[DISPLAY_WIDTH * 2];
    for (int i = 0; i < DISPLAY_WIDTH; i++) {
        line_buf[i * 2] = color_be[0];
        line_buf[i * 2 + 1] = color_be[1];
    }
    
    for (int y = 0; y < DISPLAY_HEIGHT; y++) {
        struct spi_buf buf = { .buf = line_buf, .len = sizeof(line_buf) };
        struct spi_buf_set bufs = { .buffers = &buf, .count = 1 };
        spi_write_dt(&spi_dev, &bufs);
    }
}

int opendott_set_brightness(uint8_t brightness)
{
    if (brightness > 100) {
        brightness = 100;
    }

    current_brightness = brightness;

    if (!pwm_is_ready_dt(&backlight)) {
        return -ENODEV;
    }

    uint32_t pulse = (backlight.period * brightness) / 100;
    
    int ret = pwm_set_pulse_dt(&backlight, pulse);
    if (ret < 0) {
        LOG_ERR("Failed to set backlight: %d", ret);
        return ret;
    }

    LOG_DBG("Brightness set to %d%%", brightness);
    return 0;
}

int display_draw_buffer(uint16_t x, uint16_t y, uint16_t width, uint16_t height,
                        const uint8_t *buf)
{
    if (!display_initialized) {
        return -ENODEV;
    }

    /* Bounds check */
    if (x + width > DISPLAY_WIDTH || y + height > DISPLAY_HEIGHT) {
        LOG_ERR("Draw bounds exceeded");
        return -EINVAL;
    }

    /* Set column address */
    display_send_cmd(0x2A);
    uint8_t col_data[] = {
        (x >> 8) & 0xFF, x & 0xFF,
        ((x + width - 1) >> 8) & 0xFF, (x + width - 1) & 0xFF
    };
    display_send_data(col_data, 4);

    /* Set row address */
    display_send_cmd(0x2B);
    uint8_t row_data[] = {
        (y >> 8) & 0xFF, y & 0xFF,
        ((y + height - 1) >> 8) & 0xFF, (y + height - 1) & 0xFF
    };
    display_send_data(row_data, 4);

    /* Write to RAM */
    display_send_cmd(0x2C);
    display_send_data(buf, width * height * DISPLAY_BPP);

    return 0;
}

int display_show_image(const char *path)
{
    uint8_t *data = NULL;
    size_t size = 0;

    int ret = storage_load_image(path, &data, &size);
    if (ret < 0) {
        LOG_ERR("Failed to load image '%s': %d", path, ret);
        return ret;
    }

    ret = image_decode_and_display(data, size);
    k_free(data);

    return ret;
}

void display_gif(const uint8_t *data, size_t size)
{
    if (!data || size == 0) {
        LOG_ERR("Invalid GIF data");
        return;
    }

    int ret = image_decode_and_display(data, size);
    if (ret < 0) {
        LOG_ERR("Failed to display GIF: %d", ret);
    }
}
```

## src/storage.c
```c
/*
 * OpenDOTT - Storage Driver
 * SPDX-License-Identifier: MIT
 * 
 * LittleFS on GD25Q128 external flash
 */

#include <zephyr/kernel.h>
#include <zephyr/device.h>
#include <zephyr/fs/fs.h>
#include <string.h>
#include <zephyr/fs/littlefs.h>
#include <zephyr/storage/flash_map.h>
#include <zephyr/logging/log.h>

#include "opendott.h"

LOG_MODULE_REGISTER(storage, CONFIG_LOG_DEFAULT_LEVEL);

/* Mount point */
#define STORAGE_MOUNT_POINT "/lfs"
#define STORAGE_PARTITION lfs_partition
#define STORAGE_PARTITION_ID FIXED_PARTITION_ID(STORAGE_PARTITION)

/* LittleFS configuration */
FS_LITTLEFS_DECLARE_DEFAULT_CONFIG(storage_lfs);

static struct fs_mount_t storage_mount_cfg = {
    .type = FS_LITTLEFS,
    .fs_data = &storage_lfs,
    .storage_dev = (void *)STORAGE_PARTITION_ID,
    .mnt_point = STORAGE_MOUNT_POINT,
};

static bool storage_mounted = false;

int storage_init(void)
{
    int ret;

    /* Check if partition exists */
    const struct flash_area *fa;
    ret = flash_area_open(STORAGE_PARTITION_ID, &fa);
    if (ret < 0) {
        LOG_ERR("Failed to open flash area: %d", ret);
        return ret;
    }
    
    LOG_INF("Flash area: offset=0x%lx, size=%zu KB", 
            (unsigned long)fa->fa_off, fa->fa_size / 1024);
    flash_area_close(fa);

    /* Try to mount */
    ret = fs_mount(&storage_mount_cfg);
    if (ret < 0) {
        LOG_WRN("Mount failed (%d), formatting...", ret);
        
        /* Format and retry */
        ret = fs_mkfs(FS_LITTLEFS, (uintptr_t)STORAGE_PARTITION_ID, NULL, 0);
        if (ret < 0) {
            LOG_ERR("Format failed: %d", ret);
            return ret;
        }

        ret = fs_mount(&storage_mount_cfg);
        if (ret < 0) {
            LOG_ERR("Mount after format failed: %d", ret);
            return ret;
        }
    }

    storage_mounted = true;
    LOG_INF("Storage mounted at %s", STORAGE_MOUNT_POINT);

    return 0;
}

int storage_save_image(const uint8_t *data, size_t size, const char *name)
{
    if (!storage_mounted) {
        return -ENODEV;
    }

    if (size > MAX_IMAGE_SIZE) {
        LOG_ERR("Image too large: %zu > %d", size, MAX_IMAGE_SIZE);
        return OPENDOTT_ERR_FILE_TOO_LARGE;
    }

    char path[64];
    snprintf(path, sizeof(path), "%s/%s", STORAGE_MOUNT_POINT, name);

    struct fs_file_t file;
    fs_file_t_init(&file);

    int ret = fs_open(&file, path, FS_O_CREATE | FS_O_WRITE | FS_O_TRUNC);
    if (ret < 0) {
        LOG_ERR("Failed to open file for writing: %d", ret);
        return OPENDOTT_ERR_FLASH_WRITE;
    }

    ssize_t written = fs_write(&file, data, size);
    fs_close(&file);

    if (written != size) {
        LOG_ERR("Write incomplete: %zd != %zu", written, size);
        return OPENDOTT_ERR_FLASH_WRITE;
    }

    LOG_INF("Saved %zu bytes to %s", size, path);
    return 0;
}

int storage_load_image(const char *name, uint8_t **data, size_t *size)
{
    if (!storage_mounted) {
        return -ENODEV;
    }

    char path[64];
    snprintf(path, sizeof(path), "%s/%s", STORAGE_MOUNT_POINT, name);

    struct fs_file_t file;
    fs_file_t_init(&file);

    int ret = fs_open(&file, path, FS_O_READ);
    if (ret < 0) {
        LOG_ERR("Failed to open file for reading: %d", ret);
        return OPENDOTT_ERR_FLASH_READ;
    }

    /* Get file size */
    struct fs_dirent entry;
    ret = fs_stat(path, &entry);
    if (ret < 0) {
        fs_close(&file);
        return OPENDOTT_ERR_FLASH_READ;
    }

    *size = entry.size;

    /* Allocate buffer */
    *data = k_malloc(*size);
    if (!*data) {
        fs_close(&file);
        return OPENDOTT_ERR_NO_MEMORY;
    }

    /* Read file */
    ssize_t read = fs_read(&file, *data, *size);
    fs_close(&file);

    if (read != *size) {
        k_free(*data);
        *data = NULL;
        LOG_ERR("Read incomplete: %zd != %zu", read, *size);
        return OPENDOTT_ERR_FLASH_READ;
    }

    LOG_INF("Loaded %zu bytes from %s", *size, path);
    return 0;
}

int storage_delete_image(const char *name)
{
    if (!storage_mounted) {
        return -ENODEV;
    }

    char path[64];
    snprintf(path, sizeof(path), "%s/%s", STORAGE_MOUNT_POINT, name);

    int ret = fs_unlink(path);
    if (ret < 0) {
        LOG_ERR("Failed to delete %s: %d", path, ret);
        return ret;
    }

    LOG_INF("Deleted %s", path);
    return 0;
}

int storage_get_free_space(size_t *free_bytes)
{
    if (!storage_mounted) {
        return -ENODEV;
    }

    struct fs_statvfs stat;
    int ret = fs_statvfs(STORAGE_MOUNT_POINT, &stat);
    if (ret < 0) {
        return ret;
    }

    *free_bytes = stat.f_bfree * stat.f_bsize;
    return 0;
}

int storage_format(void)
{
    LOG_WRN("Formatting storage...");

    if (storage_mounted) {
        fs_unmount(&storage_mount_cfg);
        storage_mounted = false;
    }

    int ret = fs_mkfs(FS_LITTLEFS, (uintptr_t)STORAGE_PARTITION_ID, NULL, 0);
    if (ret < 0) {
        LOG_ERR("Format failed: %d", ret);
        return ret;
    }

    ret = fs_mount(&storage_mount_cfg);
    if (ret < 0) {
        LOG_ERR("Mount after format failed: %d", ret);
        return ret;
    }

    storage_mounted = true;
    LOG_INF("Storage formatted and mounted");
    return 0;
}

/* Legacy slot-based API for compatibility */
int storage_save_gif(const uint8_t *data, size_t size, uint8_t slot)
{
    char name[16];
    snprintf(name, sizeof(name), "slot%d.gif", slot);
    return storage_save_image(data, size, name);
}

int storage_load_gif(uint8_t *data, size_t max_size, uint8_t slot)
{
    char name[16];
    snprintf(name, sizeof(name), "slot%d.gif", slot);
    
    uint8_t *loaded_data = NULL;
    size_t loaded_size = 0;
    
    int ret = storage_load_image(name, &loaded_data, &loaded_size);
    if (ret < 0) {
        return ret;
    }
    
    if (loaded_size > max_size) {
        k_free(loaded_data);
        return OPENDOTT_ERR_FILE_TOO_LARGE;
    }
    
    memcpy(data, loaded_data, loaded_size);
    k_free(loaded_data);
    
    return (int)loaded_size;
}
```
